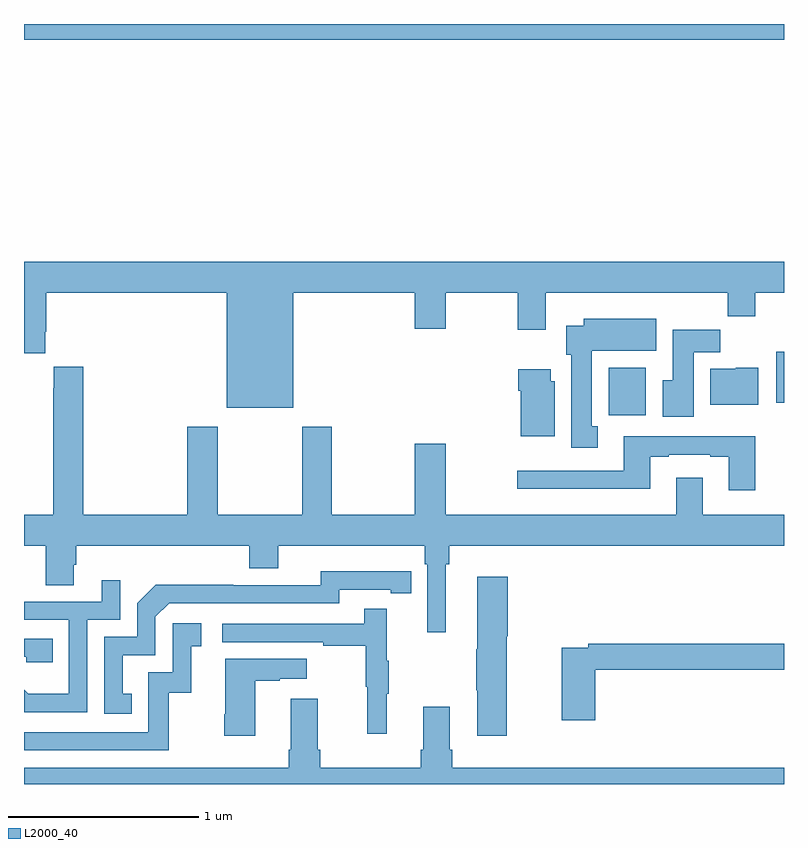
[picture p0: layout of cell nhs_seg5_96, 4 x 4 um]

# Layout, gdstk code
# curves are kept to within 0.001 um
import gdstk
lib = gdstk.Library(unit=1e-6, precision=1e-09)
def R(c, l, rs):  # rectangles x0, y0, x1, y1
    for r in rs: c.add(gdstk.rectangle(r[:2], r[2:], *l))
def P(c, l, *ps):  # polygons
    for p in ps: c.add(gdstk.Polygon(p, *l))
L2000_40 = (2000, 40)

nhs_seg5_96 = lib.new_cell('nhs_seg5_96')
R(nhs_seg5_96, L2000_40, [(118.077,898.74,118.273,898.99), (118.958,898.805,119,899.074), (115,900.716,119,900.799)])
P(nhs_seg5_96, L2000_40, [(116.416,899.384),(117.056,899.384),(117.056,899.196),(117.22,899.196),(117.22,899.384),(117.598,899.384),(117.598,899.19),(117.745,899.19),(117.745,899.384),(118.705,899.384),(118.705,899.26),(118.849,899.26),(118.849,899.384),(119,899.384),(119,899.548),(115,899.548),(115,899.067),(115.111,899.067),(115.111,899.179),(115.118,899.179),(115.118,899.384),(116.066,899.384),(116.066,898.778),(116.416,898.778)],
  [(118.021,898.681),(117.988,898.681),(117.988,899.078),(118.327,899.078),(118.327,899.248),(117.947,899.248),(117.947,899.212),(117.854,899.212),(117.854,899.058),(117.881,899.058),(117.881,898.569),(118.021,898.569)],
  [(118.525,899.072),(118.664,899.072),(118.664,899.19),(118.415,899.19),(118.415,898.924),(118.361,898.924),(118.361,898.731),(118.525,898.731)],
  [(118.864,898.99),(118.746,898.99),(118.746,898.984),(118.613,898.984),(118.613,898.796),(118.864,898.796)],
  [(117.793,898.92),(117.772,898.92),(117.772,898.981),(117.602,898.981),(117.602,898.868),(117.614,898.868),(117.614,898.628),(117.793,898.628)],
  [(118.849,898.63),(118.621,898.63),(118.621,898.629),(118.157,898.629),(118.157,898.449),(117.597,898.449),(117.597,898.352),(118.297,898.352),(118.297,898.521),(118.393,898.521),(118.393,898.533),(118.613,898.533),(118.613,898.521),(118.709,898.521),(118.709,898.344),(118.849,898.344)],
  [(118.433,898.411),(118.433,898.216),(117.22,898.216),(117.22,898.591),(117.056,898.591),(117.056,898.216),(116.619,898.216),(116.619,898.678),(116.464,898.678),(116.464,898.216),(116.019,898.216),(116.019,898.678),(115.859,898.678),(115.859,898.216),(115.313,898.216),(115.313,898.996),(115.157,898.996),(115.157,898.883),(115.153,898.883),(115.153,898.216),(115,898.216),(115,898.052),(115.114,898.052),(115.114,897.844),(115.261,897.844),(115.261,897.954),(115.274,897.954),(115.274,898.052),(116.186,898.052),(116.186,897.935),(116.338,897.935),(116.338,898.052),(117.11,898.052),(117.11,897.956),(117.123,897.956),(117.123,897.597),(117.22,897.597),(117.22,897.956),(117.239,897.956),(117.239,898.052),(119,898.052),(119,898.216),(118.573,898.216),(118.573,898.411)],
  [(115.568,897.273),(115.519,897.273),(115.519,897.477),(115.692,897.477),(115.692,897.678),(115.764,897.75),(116.658,897.75),(116.658,897.822),(116.93,897.822),(116.93,897.802),(117.038,897.802),(117.038,897.918),(116.562,897.919),(116.562,897.846),(116.102,897.846),(116.102,897.848),(115.694,897.848),(115.596,897.75),(115.596,897.573),(115.422,897.573),(115.422,897.168),(115.568,897.168)],
  [(117.54,897.576),(117.545,897.576),(117.545,897.889),(117.386,897.889),(117.386,897.509),(117.379,897.509),(117.379,897.292),(117.386,897.292),(117.386,897.054),(117.54,897.054)],
  [(115.332,897.663),(115.506,897.663),(115.506,897.871),(115.409,897.871),(115.409,897.759),(115,897.759),(115,897.663),(115.236,897.663),(115.236,897.274),(115.022,897.274),(115,897.296),(115,897.177),(115.332,897.177)],
  [(116.909,897.275),(116.92,897.275),(116.92,897.449),(116.909,897.449),(116.909,897.721),(116.791,897.721),(116.791,897.642),(116.043,897.642),(116.043,897.546),(116.575,897.546),(116.575,897.526),(116.799,897.526),(116.799,897.312),(116.806,897.312),(116.806,897.063),(116.909,897.063)],
  [(115.762,897.279),(115.88,897.279),(115.88,897.525),(115.933,897.525),(115.933,897.646),(115.782,897.646),(115.782,897.387),(115.653,897.387),(115.653,897.072),(115,897.072),(115,896.976),(115.762,896.976)],
  [(115.151,897.564),(115,897.564),(115,897.468),(115.011,897.468),(115.011,897.441),(115.151,897.441)],
  [(118.007,897.4),(119,897.4),(119,897.536),(117.97,897.536),(117.97,897.516),(117.829,897.516),(117.829,897.135),(118.007,897.135)],
  [(116.218,897.343),(116.345,897.343),(116.345,897.353),(116.488,897.353),(116.488,897.457),(116.06,897.457),(116.06,897.166),(116.053,897.166),(116.053,897.054),(116.218,897.054)],
  [(119,896.884),(117.254,896.884),(117.254,896.98),(117.241,896.98),(117.241,897.205),(117.101,897.205),(117.101,896.98),(117.089,896.98),(117.089,896.884),(116.558,896.884),(116.558,896.98),(116.545,896.98),(116.545,897.247),(116.405,897.247),(116.405,896.98),(116.393,896.98),(116.393,896.884),(115,896.884),(115,896.799),(119,896.799)])

lib.write_gds('nhs_seg5_96.gds')
